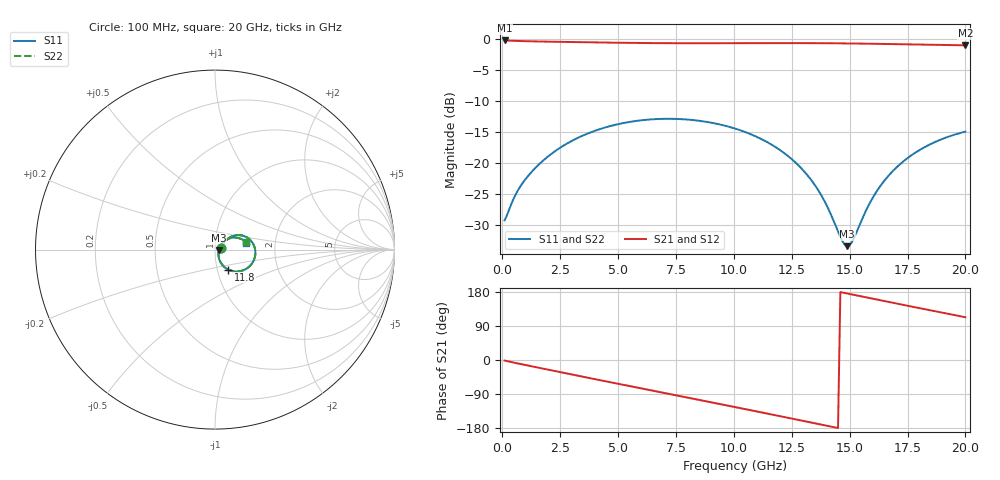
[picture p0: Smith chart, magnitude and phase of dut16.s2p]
! Touchstone file exported from HFSS 2026.1.0
!  File:  C:/ffzhzh/LocalFiles/Ansys_Project_Files/temp_test_TSV_RDL_16_1782980386_45308.aedt
!  Generated:  04:30:11 PM Jul  2, 2026
!  Design:  TSV_RDL
!  Project:  temp_test_TSV_RDL_16_1782980386_45308
! Variables:
!  h_bsmrdl = 2.42um
!  h_ox = 20um
!  h_rdl = 5um
!  h_sub = 89.52um
!  h_tmrdl = 2.25um
!  h_tsv = 89.52um
!  h_via = 3um
!  l_bsmrdl = 131.06um
!  l_sub = 4045.91um
!  l_tmrdl = 784.48um
!  m_sub = 200um
!  pitch = 25.4um
!  r_tsv = 3.31um
!  s_tmrdl = 10um
!  w_bsmrdl = 17.91um
!  w_sub = 500um
!  w_tmrdl = 20.36um
!  x_tsv_center1 = 794.66um
!  x_tsv_center2 = 943.63um
!  x_tsv_center3 = 1748.47um
!  x_tsv_center4 = 1897.44um
!  x_tsv_center5 = 2702.28um
!  x_tsv_center6 = 2851.25um
# GHz S MA R 50.000000
! Terminal data exported
! Port[1] = TM_RDL1_1_T1
! Port[2] = TM_RDL5_1_T1
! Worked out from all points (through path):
!   200 points, 100 MHz to 20 GHz, reference 50 ohm
!   highest |S21| = -0.30 dB at 100 MHz (marker M1); lowest = -1.1 dB at 20 GHz (marker M2)
!   group delay of S21, straight-line fit = 34.2 ps
!   lowest |S11| = -33.4 dB at 14.9 GHz (marker M3), VSWR 1.04, Z = 52.1 - j0.498 ohm
!   |S11| at or under -10 dB: start of sweep to end of sweep
!   |S22| runs from -33.2 to -12.9 dB; largest |S21 - S12| = 1.7e-14
!   S11 on the Smith chart (normalised r, x): 100 MHz: 1.07, +0.01; 11.8 GHz: 1.13, -0.26; 20 GHz: 1.42, +0.11
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0.1  0.03449 11.6  0.9664 -1.4  0.9664 -1.4  0.03449 11.6
! Gamma 0 0 0 0
! Port Impedance 50 0 50 0
0.7  0.0612 37.1  0.9569 -9.5  0.9569 -9.5  0.06119 37.1
1.3  0.08601 40.1  0.9504 -17.0  0.9504 -17.0  0.086 40.1
2.3  0.125 37.4  0.943 -29.5  0.943 -29.5  0.1249 37.5
3.5  0.1665 28.7  0.9351 -44.4  0.9351 -44.4  0.1664 28.8
5.2  0.2086 12.5  0.9253 -65.2  0.9253 -65.2  0.2086 12.6
6.8  0.2257 -4.2  0.9194 -84.6  0.9194 -84.6  0.2257 -4.1
8.4  0.2193 -21.3  0.9176 -104.0  0.9176 -104.0  0.2193 -21.2
10.1  0.1877 -39.5  0.9189 -124.8  0.9189 -124.8  0.1876 -39.3
11.8  0.134 -56.6  0.9205 -145.8  0.9205 -145.8  0.134 -56.3
12.7  0.09915 -63.8  0.9204 -157.0  0.9204 -157.0  0.09912 -63.5
13.4  0.07034 -66.9  0.9195 -165.8  0.9195 -165.8  0.07037 -66.3
14  0.04582 -63.8  0.9181 -173.3  0.9181 -173.3  0.04595 -63.1
14.7  0.02326 -33.2  0.9157 177.9  0.9157 177.9  0.02365 -32.4
14.9  0.02136 -12.9  0.9148 175.4  0.9148 175.4  0.02182 -12.5
15.1  0.02304 7.5  0.9139 172.9  0.9139 172.9  0.02351 7.4
16  0.05241 40.8  0.9091 161.7  0.9091 161.7  0.05266 40.6
16.7  0.07963 41.2  0.9047 153.0  0.9047 153.0  0.0798 41.1
17.3  0.1021 37.8  0.9007 145.6  0.9007 145.6  0.1022 37.7
18.1  0.1294 31.2  0.8951 135.8  0.8951 135.8  0.1295 31.3
19.1  0.1583 21.7  0.8884 123.7  0.8884 123.7  0.1583 21.9
20  0.1784 12.7  0.883 112.8  0.883 112.8  0.1784 12.9
